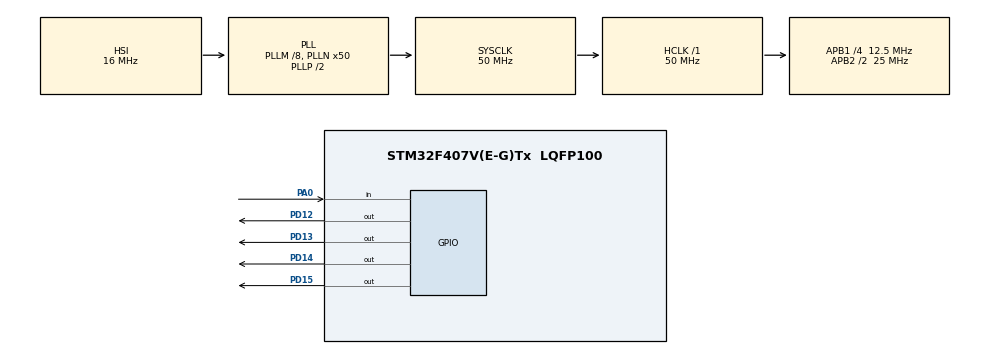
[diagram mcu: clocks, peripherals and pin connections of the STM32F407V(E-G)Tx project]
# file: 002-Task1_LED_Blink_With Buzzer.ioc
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Mcu.Family=STM32F4
Mcu.Name=STM32F407V(E-G)Tx
Mcu.Package=LQFP100
NVIC.PriorityGroup=NVIC_PRIORITYGROUP_0
PA0-WKUP.Signal=GPIO_Input
PD12.Signal=GPIO_Output
PD13.Signal=GPIO_Output
PD14.Signal=GPIO_Output
PD15.Signal=GPIO_Output
ProjectManager.HeapSize=0x200
ProjectManager.StackSize=0x400
ProjectManager.TargetToolchain=STM32CubeIDE
RCC.48MHZClocksFreq_Value=14285714.285714285
RCC.AHBFreq_Value=50000000
RCC.APB1CLKDivider=RCC_HCLK_DIV4
RCC.APB1Freq_Value=12500000
RCC.APB1TimFreq_Value=25000000
RCC.APB2CLKDivider=RCC_HCLK_DIV2
RCC.APB2Freq_Value=25000000
RCC.APB2TimFreq_Value=50000000
RCC.CortexFreq_Value=50000000
RCC.HCLKFreq_Value=50000000
RCC.HSE_VALUE=8000000
RCC.HSI_VALUE=16000000
RCC.PLLM=8
RCC.PLLN=50
RCC.PLLQ=7
RCC.SYSCLKFreq_VALUE=50000000
RCC.SYSCLKSource=RCC_SYSCLKSOURCE_PLLCLK
RCC.VCOOutputFreq_Value=100000000
board=STM32F407G-DISC1

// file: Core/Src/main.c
/* USER CODE BEGIN Header */
/**
  ******************************************************************************
  * @file           : main.c
  * @brief          : Main program body
  ******************************************************************************
  * @attention
  *
  * Copyright (c) 2025 STMicroelectronics.
  * All rights reserved.
  *
  * This software is licensed under terms that can be found in the LICENSE file
  * in the root directory of this software component.
  * If no LICENSE file comes with this software, it is provided AS-IS.
  *
  ******************************************************************************
  */
/* USER CODE END Header */
#include "main.h"

void SystemClock_Config(void);
static void MX_GPIO_Init(void);

/* USER CODE BEGIN 0 */
// Time counters for independent LED blinking
uint32_t tick_led_green = 0;
uint32_t tick_led_orange = 0;
uint32_t tick_led_red = 0;
uint32_t tick_led_blue = 0;
/* USER CODE END 0 */

int main(void)
{

  /* MCU Configuration--------------------------------------------------------*/

  /* Reset of all peripherals, Initializes the Flash interface and the Systick. */
  HAL_Init();

  /* Configure the system clock */
  SystemClock_Config();

  /* Initialize all configured peripherals */
  MX_GPIO_Init();

  /* Infinite loop */
  /* USER CODE BEGIN WHILE */
  while (1)
  {
	  uint32_t now = HAL_GetTick();  // current system time in ms

	 // Green LED (PD12) -> 500 ms toggle
	 if (now - tick_led_green >= 500) {
		 HAL_GPIO_TogglePin(GPIOD, GPIO_PIN_12);
		 tick_led_green = now;
	 }

	 // Orange LED (PD13) -> 300 ms toggle
	 if (now - tick_led_orange >= 300) {
		 HAL_GPIO_TogglePin(GPIOD, GPIO_PIN_13);
		 tick_led_orange = now;
	 }

	 // Red LED (PD14) -> 700 ms toggle
	 if (now - tick_led_red >= 700) {
		 HAL_GPIO_TogglePin(GPIOD, GPIO_PIN_14);
		 tick_led_red = now;
	 }

	 // Blue LED (PD15) -> 1000 ms toggle
	 if (now - tick_led_blue >= 1000) {
		 HAL_GPIO_TogglePin(GPIOD, GPIO_PIN_15);
		 tick_led_blue = now;
	 }

	 // Button (PA0) controls Buzzer (PB0)
	 if (HAL_GPIO_ReadPin(GPIOA, GPIO_PIN_0) == GPIO_PIN_SET) {
		 HAL_GPIO_WritePin(GPIOB, GPIO_PIN_0, GPIO_PIN_SET);   // Buzzer ON
	 } else {
		 HAL_GPIO_WritePin(GPIOB, GPIO_PIN_0, GPIO_PIN_RESET); // Buzzer OFF
	 }
    /* USER CODE END WHILE */

  }
}

void SystemClock_Config(void)
{
  RCC_OscInitTypeDef RCC_OscInitStruct = {0};
  RCC_ClkInitTypeDef RCC_ClkInitStruct = {0};

  /** Configure the main internal regulator output voltage
  */
  __HAL_RCC_PWR_CLK_ENABLE();
  __HAL_PWR_VOLTAGESCALING_CONFIG(PWR_REGULATOR_VOLTAGE_SCALE1);

  /** Initializes the RCC Oscillators according to the specified parameters
  * in the RCC_OscInitTypeDef structure.
  */
  RCC_OscInitStruct.OscillatorType = RCC_OSCILLATORTYPE_HSI;
  RCC_OscInitStruct.HSIState = RCC_HSI_ON;
  RCC_OscInitStruct.HSICalibrationValue = RCC_HSICALIBRATION_DEFAULT;
  RCC_OscInitStruct.PLL.PLLState = RCC_PLL_ON;
  RCC_OscInitStruct.PLL.PLLSource = RCC_PLLSOURCE_HSI;
  RCC_OscInitStruct.PLL.PLLM = 8;
  RCC_OscInitStruct.PLL.PLLN = 50;
  RCC_OscInitStruct.PLL.PLLP = RCC_PLLP_DIV2;
  RCC_OscInitStruct.PLL.PLLQ = 7;
  if (HAL_RCC_OscConfig(&RCC_OscInitStruct) != HAL_OK)
  {
    Error_Handler();
  }

  /** Initializes the CPU, AHB and APB buses clocks
  */
  RCC_ClkInitStruct.ClockType = RCC_CLOCKTYPE_HCLK|RCC_CLOCKTYPE_SYSCLK
                              |RCC_CLOCKTYPE_PCLK1|RCC_CLOCKTYPE_PCLK2;
  RCC_ClkInitStruct.SYSCLKSource = RCC_SYSCLKSOURCE_PLLCLK;
  RCC_ClkInitStruct.AHBCLKDivider = RCC_SYSCLK_DIV1;
  RCC_ClkInitStruct.APB1CLKDivider = RCC_HCLK_DIV4;
  RCC_ClkInitStruct.APB2CLKDivider = RCC_HCLK_DIV2;

  if (HAL_RCC_ClockConfig(&RCC_ClkInitStruct, FLASH_LATENCY_1) != HAL_OK)
  {
    Error_Handler();
  }
}

static void MX_GPIO_Init(void)
{
  GPIO_InitTypeDef GPIO_InitStruct = {0};

  /* GPIO Ports Clock Enable */
  __HAL_RCC_GPIOA_CLK_ENABLE();
  __HAL_RCC_GPIOD_CLK_ENABLE();

  /*Configure GPIO pin Output Level */
  HAL_GPIO_WritePin(GPIOD, GPIO_PIN_12|GPIO_PIN_13|GPIO_PIN_14|GPIO_PIN_15, GPIO_PIN_RESET);

  /*Configure GPIO pin : PA0 */
  GPIO_InitStruct.Pin = GPIO_PIN_0;
  GPIO_InitStruct.Mode = GPIO_MODE_INPUT;
  GPIO_InitStruct.Pull = GPIO_NOPULL;
  HAL_GPIO_Init(GPIOA, &GPIO_InitStruct);

  /*Configure GPIO pins : PD12 PD13 PD14 PD15 */
  GPIO_InitStruct.Pin = GPIO_PIN_12|GPIO_PIN_13|GPIO_PIN_14|GPIO_PIN_15;
  GPIO_InitStruct.Mode = GPIO_MODE_OUTPUT_PP;
  GPIO_InitStruct.Pull = GPIO_NOPULL;
  GPIO_InitStruct.Speed = GPIO_SPEED_FREQ_LOW;
  HAL_GPIO_Init(GPIOD, &GPIO_InitStruct);

}

void Error_Handler(void)
{
  __disable_irq();
  while (1)
  {
  }
}
